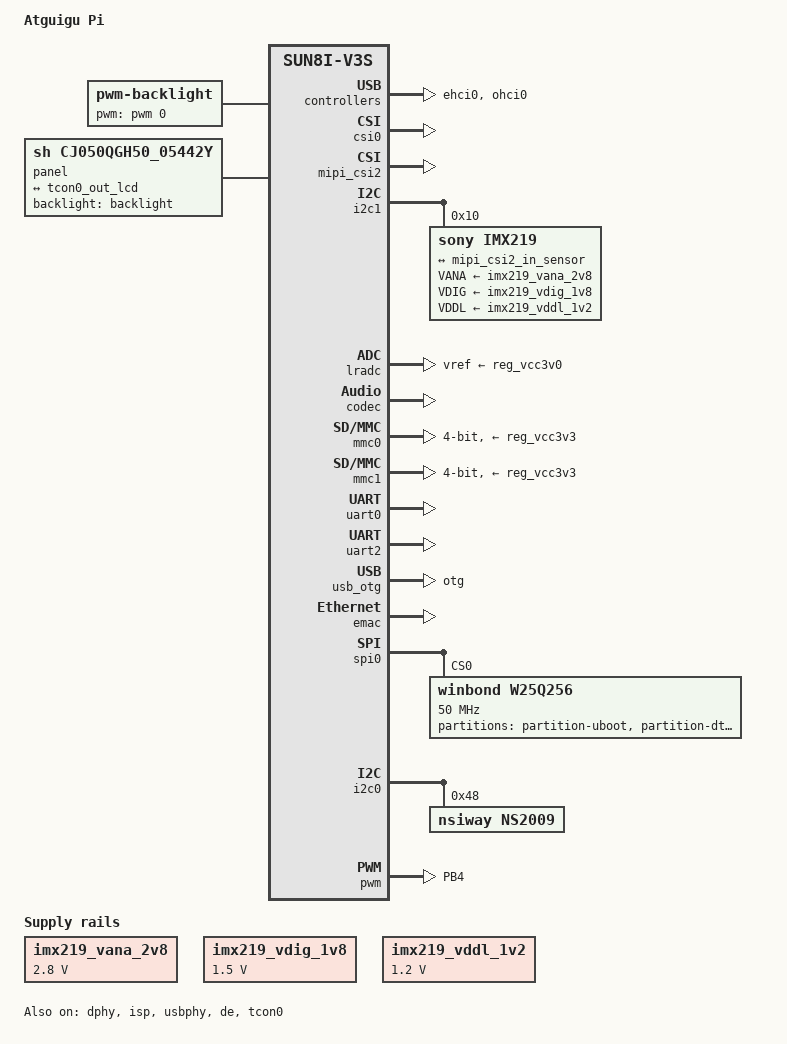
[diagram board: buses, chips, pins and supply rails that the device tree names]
/dts-v1/;
#include "sun8i-v3s.dtsi"
#include "sunxi-common-regulators.dtsi"
#include <dt-bindings/input/linux-event-codes.h>

/ {
	// 改设备名字
	model = "Atguigu Pi";
	
	compatible = "atguigu,atguigupi", "allwinner,sun8i-v3s";
	
	aliases {
		serial0 = &uart0;
		serial2 = &uart2;
		// 给以太网取别名
		ethernet0 = &emac;
		// 给SPI起别名
		spi0 = &spi0;
		i2c0 = &i2c0;
		i2c1 = &i2c1;
	};
	
	chosen {
		stdout-path = "serial0:115200n8";
	};
	
	// 加入低速USB设备支持，例如鼠标、键盘
	soc {
		ehci0: usb@01c1a000 {
			compatible = "allwinner,sun8i-v3s-ehci", "generic-ehci";
			reg = <0x01c1a000 0x100>;
			interrupts = <GIC_SPI 72 IRQ_TYPE_LEVEL_HIGH>;
			clocks = <&ccu CLK_BUS_EHCI0>, <&ccu CLK_BUS_OHCI0>;
			resets = <&ccu RST_BUS_EHCI0>, <&ccu RST_BUS_OHCI0>;
			status = "okay";
		};
		ohci0: usb@01c1a400 {
			compatible = "allwinner,sun8i-v3s-ohci", "generic-ohci";
			reg = <0x01c1a400 0x100>;
			interrupts = <GIC_SPI 73 IRQ_TYPE_LEVEL_HIGH>;
			clocks = <&ccu CLK_BUS_EHCI0>, <&ccu CLK_BUS_OHCI0>,
			<&ccu CLK_USB_OHCI0>;
			resets = <&ccu RST_BUS_EHCI0>, <&ccu RST_BUS_OHCI0>;
			status = "okay";
		};
		/*
		video-codec@1c0e000 {
			compatible = "allwinner,sun8i-v3s-video-engine";
			reg = <0x01c0e000 0x1000>;
			interrupts = <GIC_SPI 58 IRQ_TYPE_LEVEL_HIGH>;
			clocks = <&ccu CLK_BUS_VE>, <&ccu CLK_VE>,
			<&ccu CLK_DRAM_VE>;
			clock-names = "ahb", "mod", "ram";
			resets = <&ccu RST_BUS_VE>;
			allwinner,sram = <&ve_sram 1>;
			status = "okay";
		}; */
	};
	backlight: backlight {
		compatible = "pwm-backlight";
		pwms = <&pwm 0 1000000 0>;
		brightness-levels = <0 30 40 50 60 70 100>;
		default-brightness-level = <6>;
	};
	
	panel: panel {
		compatible = "sh,cj050qgh50_05442y", "simple-panel";
		backlight = <&backlight>;
		
		port {
			panel_input: endpoint {
				remote-endpoint = <&tcon0_out_lcd>;
			};
		};
		
		display-timings {
			timing0: timing0 {
				clock-frequency = <60000000>;
				hactive = <800>;
				vactive = <480>;
				
				hfront-porch = <209>;
				hsync-len = <30>;
				hback-porch = <16>;
				
				vback-porch = <22>;
				vsync-len = <1>;
				vfront-porch = <22>;
				
				hsync-active = <0>;
				vsync-active = <0>;
				de-active = <1>;
				pixelclk-active = <0>;
				
			};
		};
	};
	imx219_vana_2v8: 2p8v {
		compatible = "regulator-fixed";
		regulator-name = "camera_vana";
		regulator-min-microvolt = <2800000>;
		regulator-max-microvolt = <2800000>;
		regulator-always-on;
	};
	
	imx219_vdig_1v8: 1p8v {
		compatible = "regulator-fixed";
		regulator-name = "camera_vdig";
		regulator-min-microvolt = <1500000>;
		regulator-max-microvolt = <1500000>;
		regulator-always-on;
	};
	
	imx219_vddl_1v2: 1p2v {
		compatible = "regulator-fixed";
		regulator-name = "camera_vddl";
		regulator-min-microvolt = <1200000>;
		regulator-max-microvolt = <1200000>;
		regulator-always-on;
	};
	
	reserved-memory {
		#address-cells = <1>;
		#size-cells = <1>;
		ranges;
		cma_pool: buffer@42a00000 {
			compatible = "shared-dma-pool";
			reusable;
			reg = <0x42a00000 0x1000000>;
			linux,cma-default;
		};
	};
};

&csi0 {
	status = "okay";
};

&mipi_csi2 {
	status = "okay";
};

&mipi_csi2_in {
	mipi_csi2_in_sensor: endpoint {
		data-lanes = <1 2>;
		clock-lanes = <0>;
		remote-endpoint = <&imx219_out_mipi_csi2>;
	};
};

&dphy {
	status = "okay";
};

&isp {
	status = "okay";
};

&i2c1 {
	status = "okay";
	pinctrl-names = "default";
	pinctrl-0 = <&i2c1_pe_pins>;
	imx219: sensor@10 {
		compatible = "sony,imx219";
		reg = <0x10>;
		clocks = <&ccu CLK_CSI0_MCLK>;
		VANA-supply = <&imx219_vana_2v8>;   /* 2.8v */
		VDIG-supply = <&imx219_vdig_1v8>;   /* 1.8v */
		VDDL-supply = <&imx219_vddl_1v2>;   /* 1.2v */
		
		port {
			imx219_out_mipi_csi2: endpoint {
				remote-endpoint = <&mipi_csi2_in_sensor>;
				data-lanes = <1 2>;
				clock-noncontinuous;
				link-frequencies = /bits/ 64 <456000000>;
			};
		};
	};
};

&lradc {
	vref-supply = <&reg_vcc3v0>;
	status = "okay";
	button-0 {
		label = "Left";
		linux,code = <KEY_LEFT>;
		channel = <0>;
		voltage = <0>;
	};
	button-273 {
		label = "Right";
		linux,code = <KEY_RIGHT>;
		channel = <0>;
		voltage = <412698>;
	};
	button-500 {
		label = "Up";
		linux,code = <KEY_UP>;
		channel = <0>;
		voltage = <825396>;
	};
	button-692 {
		label = "Down";
		linux,code = <KEY_DOWN>;
		channel = <0>;
		voltage = <1111111>;
	};
	button-857 {
		label = "OK";
		linux,code = <KEY_OK>;
		channel = <0>;
		voltage = <1269841>;
	};
};

&codec {
	status = "okay";
	allwinner,audio-routing =
	"Headphone", "HP",
	"Headphone", "HPCOM",
	"MIC1", "Mic",
	"Mic",  "HBIAS";
};

&mmc0 {
	broken-cd;
	bus-width = <4>;
	vmmc-supply = <&reg_vcc3v3>;
	status = "okay";
};

// 开放mmc1设备，无线网卡挂在这个接口下面
&mmc1 {
	broken-cd;
	bus-width = <4>;
	vmmc-supply = <&reg_vcc3v3>;
	status = "okay";
};

&uart0 {
	pinctrl-0 = <&uart0_pb_pins>;
	pinctrl-names = "default";
	status = "okay";
};

&uart2 {
	pinctrl-0 = <&uart2_pins>;
	pinctrl-names = "default";
	status = "okay";
};

&usb_otg {
	dr_mode = "otg";
	status = "okay";
};

&usbphy {
	usb0_id_det-gpios = <&pio 5 6 GPIO_ACTIVE_HIGH>;
	status = "okay";
};

// 开启以太网
&emac {
	allwinner,leds-active-low;
	status = "okay";
};

// 开启SPI和FLASH
&spi0 {
	status = "okay";
	w25q256:w25q256@0 {
		compatible = "winbond,w25q256", "jedec,spi-nor";
		reg = <0x0>;
		spi-max-frequency = <50000000>;
		#address-cells = <1>;
		#size-cells = <1>;
		// 由于Flash没有分区表，需要在设备树文件中声明flash分区
		// 这里总共分了5个区
		
		partitions {
			compatible = "fixed-partitions";
			#address-cells = <1>;
			#size-cells = <1>;
			
			partition-uboot {
				reg = <0x0 0x80000>;
				read-only;
			};
			
			partition-dtb {
				reg = <0x80000 0x8000>;
				read-only;
			};
			
			partition-kernel {
				reg = <0x88000 0x6F8000>;
				read-only;
			};
			
			partition-rootfs {
				reg = <0x780000 0x1080000>;
				read-only;
			};
			partition-data {
				reg = <0x1800000 0x800000>;
			};
		};
	};
};

&i2c0 {
	status = "okay";
	ns2009: ns2009@48 {
		compatible = "nsiway,ns2009";
		reg = <0x48>;
	};
	// gt911@5d {
	// 	compatible = "goodix,gt911";
	// 	reg = <0x5d>;
	// 	interrupt-parent = <&pio>;
	// 	interrupts = <0 0>;
	// };
};

&de {
	status = "okay";
};

&pwm {
	pinctrl-names = "default";
	pinctrl-0 = <&pwm0_pins>;
	status = "okay";
};

&pio {
	lcd_pins: lcd-pins {
		pins = "PE0", "PE1", "PE2", "PE3", "PE4", "PE5",
		"PE6", "PE7", "PE8", "PE9", "PE10", "PE11",
		"PE12", "PE13", "PE14", "PE15", "PE16", "PE17",
		"PE18", "PE19", "PE23", "PE24";
		function = "lcd";
	};
	
	pwm0_pins: pwm0-pins {
		pins = "PB4";
		function = "pwm0";
	};
};

&tcon0 {
	pinctrl-names = "default";
	pinctrl-0 = <&lcd_pins>;
	status = "okay";
};

&tcon0_out {
	tcon0_out_lcd: endpoint@0 {
		reg = <0>;
		remote-endpoint = <&panel_input>;
	};
};
